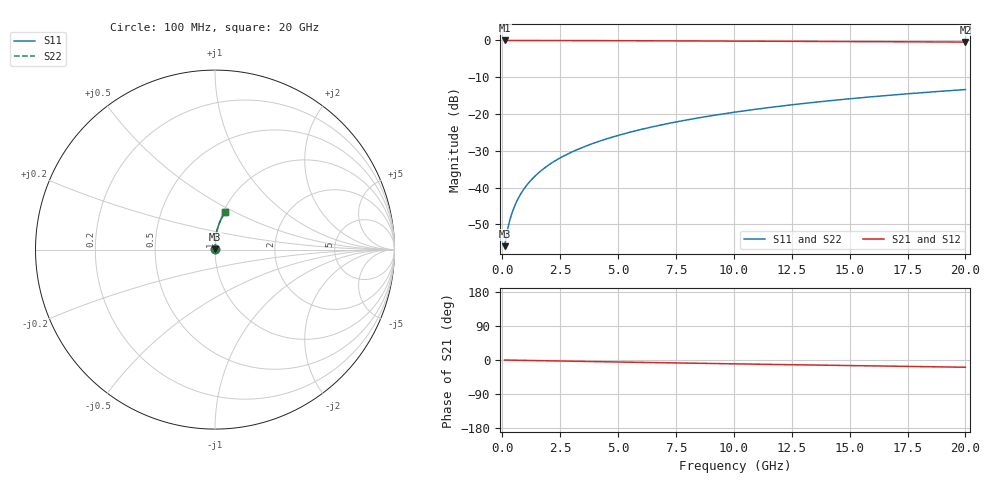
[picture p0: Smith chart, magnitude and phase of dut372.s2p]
! Touchstone file exported from HFSS 2024.1.0
!  File:  C:/UserFiles/LocalFiles/RDL_TSV_Batchsim/temp_RDL_top_372_1779609005.aedt
!  Generated:  03:52:27 PM May 24, 2026
!  Design:  RDL_top
!  Project:  temp_RDL_top_372_1779609005
!  Setup:  Setup1
!  Solution:  Sweep
! Variables:
!  dtsv = 10.80580581um
!  hbump = 3um
!  htsv = 97.95um
!  ldown = 100um
!  lrdl = 236.67um
!  p = 40
!  p1 = 48.47um
!  rhole = 1um
!  t = 450um
!  tdown = 3.915915916um
!  trdl = 4.41um
!  wdown = 15.38538539um
!  wrdl = 18.35um
# GHz S MA R 50.000000
! Terminal data exported
! Port[1] = Box2_T1
! Port[2] = Box2_T2
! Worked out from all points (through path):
!   200 points, 100 MHz to 20 GHz, reference 50 ohm
!   highest |S21| = -0.01 dB at 100 MHz (marker M1); lowest = -0.4 dB at 20 GHz (marker M2)
!   group delay of S21, straight-line fit = 2.64 ps
!   lowest |S11| = -55.9 dB at 100 MHz (marker M3), VSWR 1.00, Z = 50.1 + j0.108 ohm
!   |S11| at or under -10 dB: start of sweep to end of sweep
!   |S22| runs from -55.9 to -13.4 dB; largest |S21 - S12| = 5.2e-15
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0.1  0.001603 42.1  0.9988 -0.1  0.9988 -0.1  0.001603 42.1
! Gamma 0 0 0 0
! Port Impedance 50 0 50 0
0.2  0.002454 59.7  0.9988 -0.2  0.9988 -0.2  0.002454 59.7
0.3  0.003387 67.7  0.9987 -0.3  0.9987 -0.3  0.003387 67.7
0.4  0.004341 72.3  0.9986 -0.4  0.9986 -0.4  0.004341 72.3
0.5  0.005307 75.3  0.9986 -0.6  0.9986 -0.6  0.005307 75.3
0.6  0.006282 77.4  0.9985 -0.7  0.9985 -0.7  0.006282 77.4
0.8  0.00825 80.2  0.9984 -0.9  0.9984 -0.9  0.00825 80.2
1.1  0.01123 82.6  0.9982 -1.2  0.9982 -1.2  0.01123 82.6
1.5  0.01524 84.3  0.9979 -1.6  0.9979 -1.6  0.01524 84.3
1.8  0.01826 85.1  0.9976 -2.0  0.9976 -2.0  0.01826 85.1
2.1  0.02129 85.6  0.9972 -2.3  0.9972 -2.3  0.02129 85.6
2.7  0.02738 86.2  0.9964 -2.9  0.9964 -2.9  0.02738 86.2
3.5  0.03558 86.6  0.995 -3.8  0.995 -3.8  0.03558 86.6
4.2  0.04282 86.7  0.9937 -4.5  0.9937 -4.5  0.04282 86.7
5  0.05119 86.6  0.9919 -5.3  0.9919 -5.3  0.05119 86.6
5.9  0.06074 86.4  0.9898 -6.2  0.9898 -6.2  0.06074 86.4
6.8  0.07041 86.0  0.9875 -7.1  0.9875 -7.1  0.07041 86.0
8.4  0.08787 85.1  0.9833 -8.6  0.9833 -8.6  0.08787 85.1
10.1  0.1067 83.9  0.9787 -10.2  0.9787 -10.2  0.1067 83.9
13.4  0.1434 81.1  0.9694 -13.3  0.9694 -13.3  0.1434 81.1
16.7  0.1797 78.1  0.9599 -16.2  0.9599 -16.2  0.1797 78.1
20  0.215 74.9  0.9499 -19.1  0.9499 -19.1  0.215 74.9
